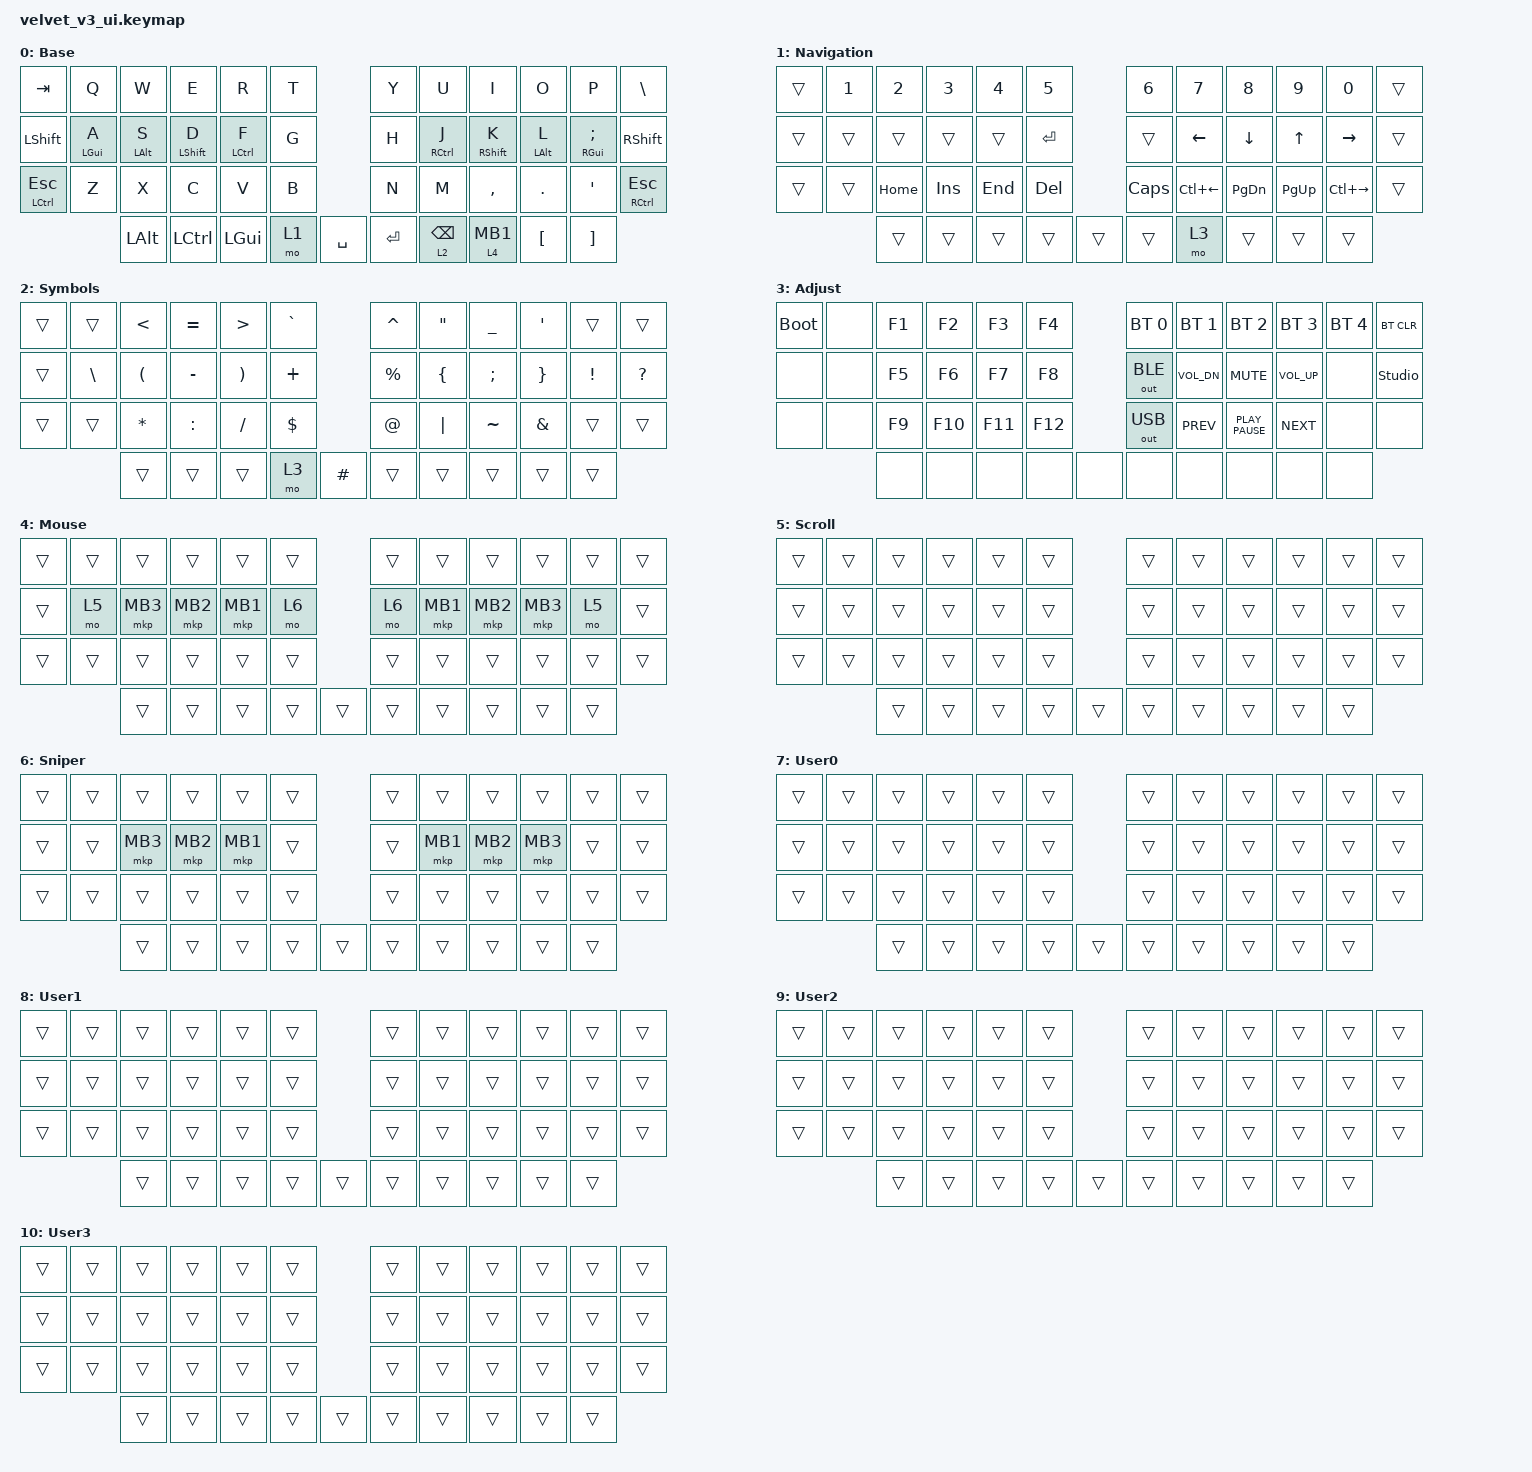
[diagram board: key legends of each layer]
#include "keys_ru.h"
#include <dt-bindings/zmk/input_transform.h>
#include <input/processors.dtsi>
#include <zephyr/dt-bindings/input/input-event-codes.h>
#include <behaviors.dtsi>
#include <dt-bindings/zmk/bt.h>
#include <dt-bindings/zmk/keys.h>
#include <dt-bindings/zmk/outputs.h>
#include <dt-bindings/zmk/pointing.h>

/ {
    behaviors {
        cap_sen: cap_sen {
            compatible = "zmk,behavior-hold-tap";
            label = "CAP_SEN";
            bindings = <&mo>, <&mkp>;

            #binding-cells = <2>;
            tapping-term-ms = <150>;
            hold-while-undecided;
        };

        hml: home_row_mod_left {
            compatible = "zmk,behavior-hold-tap";
            #binding-cells = <2>;
            flavor = "balanced";
            require-prior-idle-ms = <150>;
            tapping-term-ms = <280>;
            quick-tap-ms = <175>;
            bindings = <&kp>, <&kp>;

            hold-trigger-key-positions = <5 6 7 8 9 15 16 17 18 19 25 26 27 28 29 33 34 35>;
            hold-trigger-on-release;
        };

        hmr: home_row_mod_right {
            compatible = "zmk,behavior-hold-tap";
            #binding-cells = <2>;
            flavor = "balanced";
            require-prior-idle-ms = <150>;
            tapping-term-ms = <280>;
            quick-tap-ms = <175>;
            bindings = <&kp>, <&kp>;

            hold-trigger-key-positions = <0 1 2 3 4 10 11 12 13 14 20 21 22 23 24 30 31 32>;
            hold-trigger-on-release;
        };
    };

    keymap {
        compatible = "zmk,keymap";

        Base {
            bindings = <
&kp TAB        &kp Q        &kp W        &kp E         &kp R         &kp T                        &kp Y            &kp U           &kp I         &kp O        &kp P                &kp BSLH
&kp LSHIFT     &hml LGUI A  &hml LALT S  &hml LSHFT D  &hml LCTRL F  &kp G                        &kp H            &hmr RCTRL J    &hmr RSHFT K  &hmr LALT L  &hmr RGUI SEMICOLON  &kp RSHIFT
&mt LCTRL ESC  &kp Z        &kp X        &kp C         &kp V         &kp B                        &kp N            &kp M           &kp COMMA     &kp DOT      &kp SQT              &mt RCTRL ESC
                            &kp LALT     &kp LCTRL     &kp LGUI      &mo 1  &kp SPACE    &kp RET  &lt 2 BACKSPACE  &cap_sen 4 MB1  &kp LBKT      &kp RBKT
            >;

            display-name = "Base";
        };

        Navigation {
            bindings = <
&trans  &kp N1  &kp N2    &kp N3   &kp N4   &kp N5                     &kp N6    &kp N7        &kp N8         &kp N9       &kp N0         &trans
&trans  &trans  &trans    &trans   &trans   &kp RET                    &trans    &kp LEFT      &kp DOWN       &kp UP       &kp RIGHT      &trans
&trans  &trans  &kp HOME  &kp INS  &kp END  &kp DEL                    &kp CLCK  &kp LC(LEFT)  &kp PAGE_DOWN  &kp PAGE_UP  &kp LC(RIGHT)  &trans
                &trans    &trans   &trans   &trans   &trans    &trans  &mo 3     &trans        &trans         &trans
            >;

            display-name = "Navigation";
        };

        Symbols {
            bindings = <
&trans  &trans    &kp LT    &kp EQUAL  &kp GT    &kp GRAVE                      &kp CARET  &kp DQT   &kp UNDER  &kp SQT   &trans    &trans
&trans  &kp BSLH  &kp LPAR  &kp MINUS  &kp RPAR  &kp PLUS                       &kp PRCNT  &kp LBRC  &kp SEMI   &kp RBRC  &kp EXCL  &kp QUESTION
&trans  &trans    &kp STAR  &kp COLON  &kp FSLH  &kp DLLR                       &kp AT     &kp PIPE  &kp TILDE  &kp AMPS  &trans    &trans
                  &trans    &trans     &trans    &mo 3      &kp HASH    &trans  &trans     &trans    &trans     &trans
            >;

            display-name = "Symbols";
        };

        Adjust {
            bindings = <
&bootloader  &none  &kp F1  &kp F2   &kp F3   &kp F4                   &bt BT_SEL 0  &bt BT_SEL 1  &bt BT_SEL 2      &bt BT_SEL 3  &bt BT_SEL 4  &bt BT_CLR
&none        &none  &kp F5  &kp F6   &kp F7   &kp F8                   &out OUT_BLE  &kp C_VOL_DN  &kp K_MUTE        &kp C_VOL_UP  &none         &studio_unlock
&none        &none  &kp F9  &kp F10  &kp F11  &kp F12                  &out OUT_USB  &kp K_PREV    &kp K_PLAY_PAUSE  &kp K_NEXT    &none         &none
                    &none   &none    &none    &none    &none    &none  &none         &none         &none             &none
            >;

            display-name = "Adjust";
        };

        Mouse {
            bindings = <
&trans  &trans  &trans    &trans    &trans    &trans                    &trans  &trans    &trans    &trans    &trans  &trans
&trans  &mo 5   &mkp MB3  &mkp MB2  &mkp MB1  &mo 6                     &mo 6   &mkp MB1  &mkp MB2  &mkp MB3  &mo 5   &trans
&trans  &trans  &trans    &trans    &trans    &trans                    &trans  &trans    &trans    &trans    &trans  &trans
                &trans    &trans    &trans    &trans  &trans    &trans  &trans  &trans    &trans    &trans
            >;
        };

        Scroll {
            bindings = <
&trans  &trans  &trans  &trans  &trans  &trans                    &trans  &trans  &trans  &trans  &trans  &trans
&trans  &trans  &trans  &trans  &trans  &trans                    &trans  &trans  &trans  &trans  &trans  &trans
&trans  &trans  &trans  &trans  &trans  &trans                    &trans  &trans  &trans  &trans  &trans  &trans
                &trans  &trans  &trans  &trans  &trans    &trans  &trans  &trans  &trans  &trans
            >;
        };

        Sniper {
            bindings = <
&trans  &trans  &trans    &trans    &trans    &trans                    &trans  &trans    &trans    &trans    &trans  &trans
&trans  &trans  &mkp MB3  &mkp MB2  &mkp MB1  &trans                    &trans  &mkp MB1  &mkp MB2  &mkp MB3  &trans  &trans
&trans  &trans  &trans    &trans    &trans    &trans                    &trans  &trans    &trans    &trans    &trans  &trans
                &trans    &trans    &trans    &trans  &trans    &trans  &trans  &trans    &trans    &trans
            >;
        };

        User0 {
            bindings = <
&trans  &trans  &trans  &trans  &trans  &trans                    &trans  &trans  &trans  &trans  &trans  &trans
&trans  &trans  &trans  &trans  &trans  &trans                    &trans  &trans  &trans  &trans  &trans  &trans
&trans  &trans  &trans  &trans  &trans  &trans                    &trans  &trans  &trans  &trans  &trans  &trans
                &trans  &trans  &trans  &trans  &trans    &trans  &trans  &trans  &trans  &trans
            >;

            display-name = "User0";
        };

        User1 {
            bindings = <
&trans  &trans  &trans  &trans  &trans  &trans                    &trans  &trans  &trans  &trans  &trans  &trans
&trans  &trans  &trans  &trans  &trans  &trans                    &trans  &trans  &trans  &trans  &trans  &trans
&trans  &trans  &trans  &trans  &trans  &trans                    &trans  &trans  &trans  &trans  &trans  &trans
                &trans  &trans  &trans  &trans  &trans    &trans  &trans  &trans  &trans  &trans
            >;

            display-name = "User1";
        };

        User2 {
            bindings = <
&trans  &trans  &trans  &trans  &trans  &trans                    &trans  &trans  &trans  &trans  &trans  &trans
&trans  &trans  &trans  &trans  &trans  &trans                    &trans  &trans  &trans  &trans  &trans  &trans
&trans  &trans  &trans  &trans  &trans  &trans                    &trans  &trans  &trans  &trans  &trans  &trans
                &trans  &trans  &trans  &trans  &trans    &trans  &trans  &trans  &trans  &trans
            >;

            display-name = "User2";
        };

        User3 {
            bindings = <
&trans  &trans  &trans  &trans  &trans  &trans                    &trans  &trans  &trans  &trans  &trans  &trans
&trans  &trans  &trans  &trans  &trans  &trans                    &trans  &trans  &trans  &trans  &trans  &trans
&trans  &trans  &trans  &trans  &trans  &trans                    &trans  &trans  &trans  &trans  &trans  &trans
                &trans  &trans  &trans  &trans  &trans    &trans  &trans  &trans  &trans  &trans
            >;

            display-name = "User3";
        };
    };
};

&trackball { cpi = <1000>; };

&trackball_listener {
    input-processors = <&zip_xy_scaler 9 20>;

    scroller {
        layers = <5>;
        input-processors =
            <&zip_xy_transform INPUT_TRANSFORM_Y_INVERT>,
            <&zip_xy_scaler 1 32>,
            <&zip_xy_to_scroll_mapper>;
    };

    sniper {
        layers = <6>;
        input-processors = <&zip_xy_scaler 1 4>;
    };
};
